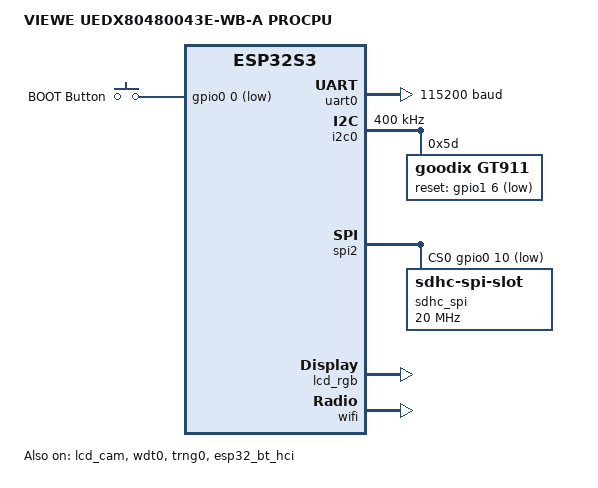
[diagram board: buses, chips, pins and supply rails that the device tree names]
/*
 * Copyright (c) 2026 VIEWE Display Co., Ltd.
 *
 * SPDX-License-Identifier: Apache-2.0
 */

/dts-v1/;

#include <espressif/esp32s3/esp32s3_wroom_n16r8.dtsi>
#include <espressif/partitions_0x0_amp_16M.dtsi>
#include <zephyr/dt-bindings/display/panel.h>
#include <zephyr/dt-bindings/gpio/gpio.h>
#include <zephyr/dt-bindings/input/input-event-codes.h>
#include "uedx80480043e_wb_a-pinctrl.dtsi"

/ {
	model = "VIEWE UEDX80480043E-WB-A PROCPU";
	compatible = "viewe,uedx80480043e-wb-a", "espressif,esp32s3";

	aliases {
		i2c-0 = &i2c0;
		sw0 = &button0;
		uart-0 = &uart0;
		watchdog0 = &wdt0;
	};

	chosen {
		zephyr,sram = &sram1;
		zephyr,console = &uart0;
		zephyr,shell-uart = &uart0;
		zephyr,flash = &flash0;
		zephyr,code-partition = &slot0_partition;
		zephyr,bt-hci = &esp32_bt_hci;
		zephyr,display = &lcd_rgb;
		zephyr,touch = &gt911;
	};

	buttons {
		compatible = "gpio-keys";

		button0: button_0 {
			gpios = <&gpio0 0 (GPIO_PULL_UP | GPIO_ACTIVE_LOW)>;
			label = "BOOT Button";
			zephyr,code = <INPUT_KEY_0>;
		};
	};

	lvgl_pointer: lvgl-pointer {
		compatible = "zephyr,lvgl-pointer-input";
		input = <&gt911>;
	};
};

&uart0 {
	status = "okay";
	current-speed = <115200>;
	pinctrl-0 = <&uart0_default>;
	pinctrl-names = "default";
};

&gpio0 {
	status = "okay";
};

&gpio1 {
	status = "okay";
};

&i2c0 {
	status = "okay";
	clock-frequency = <I2C_BITRATE_FAST>;
	pinctrl-0 = <&i2c0_default>;
	pinctrl-names = "default";

	/*
	 * Goodix GT911 Capacitive Touch Controller (J5):
	 * - SDA = GPIO19, SCL = GPIO20 (4.7k pull-ups R8/R9 on PCB)
	 * - RST = GPIO38 (&gpio1 6, active low)
	 * - INT = GPIO18 via R33 (NC/0R unpopulated by default on PCB).
	 *   We omit irq-gpios so Zephyr's goodix,gt911 driver operates in
	 *   periodic polling mode (CONFIG_INPUT_GT911_PERIOD_MS) without
	 *   requiring a hardware solder bridge on R33.
	 */
	gt911: gt911@5d {
		compatible = "goodix,gt911";
		reg = <0x5d>;
		alt-addr = <0x14>;
		reset-gpios = <&gpio1 6 GPIO_ACTIVE_LOW>;
	};
};

&spi2 {
	#address-cells = <1>;
	#size-cells = <0>;
	status = "okay";
	pinctrl-0 = <&spim2_default>;
	pinctrl-names = "default";
	cs-gpios = <&gpio0 10 GPIO_ACTIVE_LOW>;

	sdhc_spi: sdhc@0 {
		compatible = "zephyr,sdhc-spi-slot";
		reg = <0>;
		spi-max-frequency = <20000000>;

		mmc {
			compatible = "zephyr,sdmmc-disk";
			disk-name = "SD";
			status = "disabled";
		};
	};
};

&dma {
	status = "okay";
};

&lcd_cam {
	status = "okay";
	pinctrl-0 = <&lcd_cam_default>;
	pinctrl-names = "default";
	dmas = <&dma 1>;
	dma-names = "tx";

	/*
	 * 4.3" 800x480 RGB565 Parallel TFT Panel (Sitronix ST7262):
	 * - Backlight enable on GPIO2 (LP3321B6F boost driver, active high)
	 * - Pure RGB parallel dot-clock mode (DISP tied to 3.3V on PCB)
	 */
	lcd_rgb: lcd-rgb {
		compatible = "espressif,esp32-lcd-cam-rgb";
		width = <800>;
		height = <480>;
		pixel-format = <PANEL_PIXEL_FORMAT_RGB_565>;
		data-bus-width = <16>;
		backlight-gpios = <&gpio0 2 GPIO_ACTIVE_HIGH>;
		status = "okay";

		display-timings {
			compatible = "zephyr,panel-timing";
			clock-frequency = <16000000>;
			hsync-len = <4>;
			hback-porch = <8>;
			hfront-porch = <8>;
			vsync-len = <4>;
			vback-porch = <8>;
			vfront-porch = <8>;
			hsync-active = <0>;
			vsync-active = <0>;
			de-active = <1>;
			pixelclk-active = <1>;
		};
	};
};

&wdt0 {
	status = "okay";
};

&trng0 {
	status = "okay";
};

&esp32_bt_hci {
	status = "okay";
};

&wifi {
	status = "okay";
};
